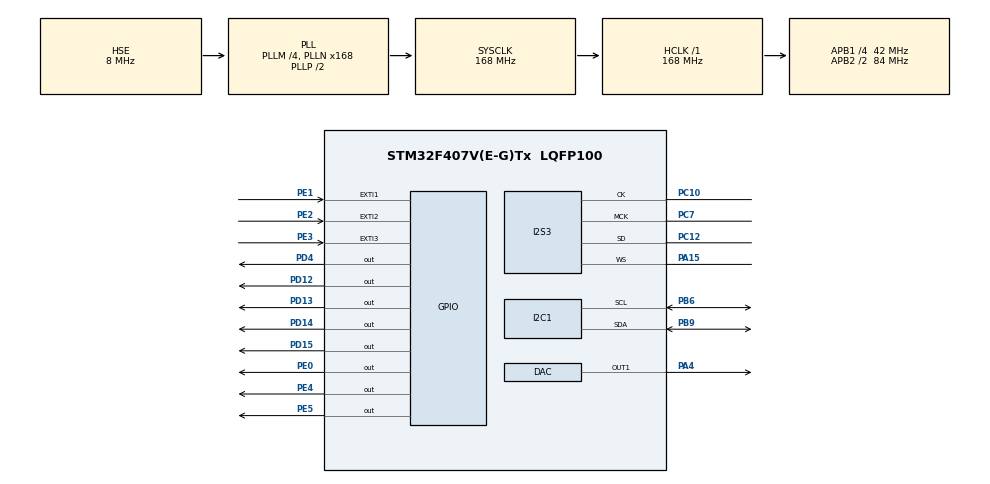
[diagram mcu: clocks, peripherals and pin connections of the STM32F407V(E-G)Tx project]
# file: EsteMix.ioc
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Dma.Request0=SPI3_TX
Dma.SPI3_TX.0.Direction=DMA_MEMORY_TO_PERIPH
Dma.SPI3_TX.0.FIFOMode=DMA_FIFOMODE_ENABLE
Dma.SPI3_TX.0.FIFOThreshold=DMA_FIFO_THRESHOLD_FULL
Dma.SPI3_TX.0.Instance=DMA1_Stream5
Dma.SPI3_TX.0.MemBurst=DMA_MBURST_SINGLE
Dma.SPI3_TX.0.MemDataAlignment=DMA_MDATAALIGN_HALFWORD
Dma.SPI3_TX.0.MemInc=DMA_MINC_ENABLE
Dma.SPI3_TX.0.Mode=DMA_CIRCULAR
Dma.SPI3_TX.0.PeriphBurst=DMA_PBURST_SINGLE
Dma.SPI3_TX.0.PeriphDataAlignment=DMA_PDATAALIGN_HALFWORD
Dma.SPI3_TX.0.PeriphInc=DMA_PINC_DISABLE
Dma.SPI3_TX.0.Priority=DMA_PRIORITY_LOW
I2S3.AudioFreq=I2S_AUDIOFREQ_48K
I2S3.ErrorAudioFreq=-2.34 %
I2S3.FullDuplexMode=I2S_FULLDUPLEXMODE_DISABLE
I2S3.Instance=SPI$Index
I2S3.RealAudioFreq=46.875 KHz
I2S3.VirtualMode=I2S_MODE_MASTER
Mcu.Family=STM32F4
Mcu.Name=STM32F407V(E-G)Tx
Mcu.Package=LQFP100
NVIC.DMA1_Stream5_IRQn=true\:0\:0\:false\:false\:true\:false
NVIC.EXTI1_IRQn=true\:0\:0\:false\:false\:true\:true
NVIC.EXTI2_IRQn=true\:0\:0\:false\:false\:true\:true
NVIC.EXTI3_IRQn=true\:0\:0\:false\:false\:true\:true
NVIC.PriorityGroup=NVIC_PRIORITYGROUP_4
NVIC.TIM2_IRQn=true\:0\:0\:false\:false\:true\:true
NVIC.TIM3_IRQn=true\:0\:0\:false\:false\:true\:true
PA15.Mode=Half_Duplex_Master
PA15.Signal=I2S3_WS
PA4.Signal=COMP_DAC1_group
PB6.Mode=I2C
PB6.Signal=I2C1_SCL
PB9.Mode=I2C
PB9.Signal=I2C1_SDA
PC10.Mode=Half_Duplex_Master
PC10.Signal=I2S3_CK
PC12.Mode=Half_Duplex_Master
PC12.Signal=I2S3_SD
PC7.Mode=Master_Clock_Activated
PC7.Signal=I2S3_MCK
PD12.Signal=GPIO_Output
PD13.Signal=GPIO_Output
PD14.Signal=GPIO_Output
PD15.Signal=GPIO_Output
PD4.Signal=GPIO_Output
PE0.Signal=GPIO_Output
PE1.GPIO_ModeDefaultEXTI=GPIO_MODE_IT_RISING_FALLING
PE1.Signal=GPXTI1
PE2.GPIO_ModeDefaultEXTI=GPIO_MODE_IT_RISING_FALLING
PE2.Signal=GPXTI2
PE3.GPIO_ModeDefaultEXTI=GPIO_MODE_IT_RISING_FALLING
PE3.Signal=GPXTI3
PE4.Signal=GPIO_Output
PE5.Signal=GPIO_Output
PH0-OSC_IN.Mode=HSE-External-Oscillator
PH0-OSC_IN.Signal=RCC_OSC_IN
PH1-OSC_OUT.Mode=HSE-External-Oscillator
PH1-OSC_OUT.Signal=RCC_OSC_OUT
ProjectManager.HeapSize=0x200
ProjectManager.StackSize=0x400
ProjectManager.TargetToolchain=SW4STM32
RCC.48MHZClocksFreq_Value=84000000
RCC.AHBFreq_Value=168000000
RCC.APB1CLKDivider=RCC_HCLK_DIV4
RCC.APB1Freq_Value=42000000
RCC.APB1TimFreq_Value=84000000
RCC.APB2CLKDivider=RCC_HCLK_DIV2
RCC.APB2Freq_Value=84000000
RCC.APB2TimFreq_Value=168000000
RCC.CortexFreq_Value=168000000
RCC.HCLKFreq_Value=168000000
RCC.HSE_VALUE=8000000
RCC.HSI_VALUE=16000000
RCC.LSE_VALUE=32768
RCC.PLLM=4
RCC.PLLN=168
RCC.PLLSourceVirtual=RCC_PLLSOURCE_HSE
RCC.SYSCLKFreq_VALUE=168000000
RCC.SYSCLKSource=RCC_SYSCLKSOURCE_PLLCLK
RCC.VCOOutputFreq_Value=336000000
SH.COMP_DAC1_group.0=DAC_OUT1,DAC_OUT1
TIM2.Period=19
TIM2.Prescaler=83
TIM2.TIM_MasterOutputTrigger=TIM_TRGO_UPDATE
TIM3.Period=6
TIM3.Prescaler=11
VP_TIM2_VS_ClockSourceINT.Mode=Internal
VP_TIM3_VS_ClockSourceINT.Mode=Internal
board=EsteMix

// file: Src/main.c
/* USER CODE BEGIN Header */
/**
  ******************************************************************************
  * @file           : main.c
  * @brief          : Main program body
  ******************************************************************************
  ** This notice applies to any and all portions of this file
  * that are not between comment pairs USER CODE BEGIN and
  * USER CODE END. Other portions of this file, whether
  * inserted by the user or by software development tools
  * are owned by their respective copyright owners.
  *
  * COPYRIGHT(c) 2019 STMicroelectronics
  *
  * Redistribution and use in source and binary forms, with or without modification,
  * are permitted provided that the following conditions are met:
  *   1. Redistributions of source code must retain the above copyright notice,
  *      this list of conditions and the following disclaimer.
  *   2. Redistributions in binary form must reproduce the above copyright notice,
  *      this list of conditions and the following disclaimer in the documentation
  *      and/or other materials provided with the distribution.
  *   3. Neither the name of STMicroelectronics nor the names of its contributors
  *      may be used to endorse or promote products derived from this software
  *      without specific prior written permission.
  *
  * THIS SOFTWARE IS PROVIDED BY THE COPYRIGHT HOLDERS AND CONTRIBUTORS "AS IS"
  * AND ANY EXPRESS OR IMPLIED WARRANTIES, INCLUDING, BUT NOT LIMITED TO, THE
  * IMPLIED WARRANTIES OF MERCHANTABILITY AND FITNESS FOR A PARTICULAR PURPOSE ARE
  * DISCLAIMED. IN NO EVENT SHALL THE COPYRIGHT HOLDER OR CONTRIBUTORS BE LIABLE
  * FOR ANY DIRECT, INDIRECT, INCIDENTAL, SPECIAL, EXEMPLARY, OR CONSEQUENTIAL
  * DAMAGES (INCLUDING, BUT NOT LIMITED TO, PROCUREMENT OF SUBSTITUTE GOODS OR
  * SERVICES; LOSS OF USE, DATA, OR PROFITS; OR BUSINESS INTERRUPTION) HOWEVER
  * CAUSED AND ON ANY THEORY OF LIABILITY, WHETHER IN CONTRACT, STRICT LIABILITY,
  * OR TORT (INCLUDING NEGLIGENCE OR OTHERWISE) ARISING IN ANY WAY OUT OF THE USE
  * OF THIS SOFTWARE, EVEN IF ADVISED OF THE POSSIBILITY OF SUCH DAMAGE.
  *
  ******************************************************************************
  */
/* USER CODE END Header */

#include "main.h"

/* USER CODE BEGIN Includes */
#include "MY_CS43L22.h"
#include <math.h>
/* USER CODE END Includes */

DAC_HandleTypeDef hdac;

I2C_HandleTypeDef hi2c1;

I2S_HandleTypeDef hi2s3;
DMA_HandleTypeDef hdma_spi3_tx;

TIM_HandleTypeDef htim2;
TIM_HandleTypeDef htim3;

/* USER CODE BEGIN PV */
/* Private variables ---------------------------------------------------------*/
int cnt=0;
double cm1=0,cm2=0,cm3=0;
#define PI 3.14159f
#define F_SAMPLE 60000.0f
#define F_OUT 1000.0f
float mySinval;
float sample_dt=F_OUT/F_SAMPLE;
uint16_t sample_N=F_SAMPLE/F_OUT;
uint16_t i_t;
uint32_t myDacval;
int16_t I2S_dummy[4];
float vol = 1.0f;
float freq = 1.0f;
float amp = 1.0f;
/* USER CODE END PV */

void SystemClock_Config(void);
static void MX_GPIO_Init(void);
static void MX_DMA_Init(void);
static void MX_TIM3_Init(void);
static void MX_I2C1_Init(void);
static void MX_I2S3_Init(void);
static void MX_DAC_Init(void);
static void MX_TIM2_Init(void);
/* USER CODE BEGIN PFP */
/* Private function prototypes -----------------------------------------------*/

void HAL_TIM_PeriodElapsedCallback(TIM_HandleTypeDef *htim){
	if (htim->Instance == TIM3) {
		cnt++;
	}
	if(htim->Instance == TIM2){
		  mySinval = sinf(i_t * 2 * PI * sample_dt);
		  //konwersja z float na dac1
		  myDacval = (mySinval + 1) * 127 ;
		  //wyprowadzenie probki na DAC
		  HAL_DAC_SetValue(&hdac, DAC_CHANNEL_1, DAC_ALIGN_8B_R, myDacval * vol);

		  i_t++;
		  if(i_t>=amp)

			  {i_t=0;}
	  }
}

void HAL_GPIO_EXTI_Callback(uint16_t GPIO_Pin){
	if(GPIO_Pin == GPIO_PIN_1){
		if(HAL_GPIO_ReadPin(GPIOE, GPIO_PIN_1)){
			HAL_TIM_Base_Start_IT(&htim3);}
	else{
			cm1=cnt/58.0;
			HAL_TIM_Base_Stop_IT(&htim3);
			TIM3->CNT=0;
			cnt=0;
			}
	  }

	if(GPIO_Pin == GPIO_PIN_2){
			if(HAL_GPIO_ReadPin(GPIOE, GPIO_PIN_2)){
				HAL_TIM_Base_Start_IT(&htim3);}
		else{
				cm2=cnt/58.0;
				HAL_TIM_Base_Stop_IT(&htim3);
				TIM3->CNT=0;
				cnt=0;
				}
		  }

	if(GPIO_Pin == GPIO_PIN_3){
			if(HAL_GPIO_ReadPin(GPIOE, GPIO_PIN_3)){
				HAL_TIM_Base_Start_IT(&htim3);}
		else{
				cm3=cnt/58.0;
				HAL_TIM_Base_Stop_IT(&htim3);
				TIM3->CNT=0;
				cnt=0;
				}
		  }
}

void triggerHC1(){
		HAL_GPIO_WritePin(GPIOE, GPIO_PIN_0,0);
		HAL_Delay(2);

		HAL_GPIO_WritePin(GPIOE, GPIO_PIN_0,1);
		HAL_Delay(10);

		HAL_GPIO_WritePin(GPIOE, GPIO_PIN_0,0);
}

void triggerHC2(){
		HAL_GPIO_WritePin(GPIOE, GPIO_PIN_4,0);
		HAL_Delay(2);

		HAL_GPIO_WritePin(GPIOE, GPIO_PIN_4,1);
		HAL_Delay(10);

		HAL_GPIO_WritePin(GPIOE, GPIO_PIN_4,0);
}

void triggerHC3(){
		HAL_GPIO_WritePin(GPIOE, GPIO_PIN_5,0);
		HAL_Delay(2);

		HAL_GPIO_WritePin(GPIOE, GPIO_PIN_5,1);
		HAL_Delay(10);

		HAL_GPIO_WritePin(GPIOE, GPIO_PIN_5,0);
}
/* USER CODE END PFP */

int main(void)
{

  /* MCU Configuration--------------------------------------------------------*/

  /* Reset of all peripherals, Initializes the Flash interface and the Systick. */
  HAL_Init();

  /* Configure the system clock */
  SystemClock_Config();

  /* Initialize all configured peripherals */
  MX_GPIO_Init();
  MX_DMA_Init();
  MX_TIM3_Init();
  MX_I2C1_Init();
  MX_I2S3_Init();
  MX_DAC_Init();
  MX_TIM2_Init();
  /* USER CODE BEGIN 2 */
  //wlaczanie CS43L22
    CS43_Init(hi2c1, MODE_ANALOG);
    CS43_SetVolume(50);
    CS43_Enable_RightLeft(CS43_RIGHT_LEFT);
    CS43_Start();

    HAL_I2S_Transmit_DMA(&hi2s3,(uint16_t *)I2S_dummy, 4);

    //wlaczanie DAC
    HAL_DAC_Start(&hdac,DAC_CHANNEL_1);

    //wlaczenie TIM2
    HAL_TIM_Base_Start_IT(&htim2);

  /* USER CODE END 2 */

  /* Infinite loop */
  /* USER CODE BEGIN WHILE */
  while (1)
  {
	  triggerHC1();
	//  HAL_Delay(200);
	  triggerHC2();
	  //HAL_Delay(200);
//	  triggerHC3();
//	  HAL_Delay(200);

	  vol = cm1/30;
	  amp = cm2*10;
	  /* USER CODE END WHILE */

  }
}

void SystemClock_Config(void)
{
  RCC_OscInitTypeDef RCC_OscInitStruct = {0};
  RCC_ClkInitTypeDef RCC_ClkInitStruct = {0};
  RCC_PeriphCLKInitTypeDef PeriphClkInitStruct = {0};

  /**Configure the main internal regulator output voltage
  */
  __HAL_RCC_PWR_CLK_ENABLE();
  __HAL_PWR_VOLTAGESCALING_CONFIG(PWR_REGULATOR_VOLTAGE_SCALE1);
  /**Initializes the CPU, AHB and APB busses clocks
  */
  RCC_OscInitStruct.OscillatorType = RCC_OSCILLATORTYPE_HSE;
  RCC_OscInitStruct.HSEState = RCC_HSE_ON;
  RCC_OscInitStruct.PLL.PLLState = RCC_PLL_ON;
  RCC_OscInitStruct.PLL.PLLSource = RCC_PLLSOURCE_HSE;
  RCC_OscInitStruct.PLL.PLLM = 4;
  RCC_OscInitStruct.PLL.PLLN = 168;
  RCC_OscInitStruct.PLL.PLLP = RCC_PLLP_DIV2;
  RCC_OscInitStruct.PLL.PLLQ = 4;
  if (HAL_RCC_OscConfig(&RCC_OscInitStruct) != HAL_OK)
  {
    Error_Handler();
  }
  /**Initializes the CPU, AHB and APB busses clocks
  */
  RCC_ClkInitStruct.ClockType = RCC_CLOCKTYPE_HCLK|RCC_CLOCKTYPE_SYSCLK
                              |RCC_CLOCKTYPE_PCLK1|RCC_CLOCKTYPE_PCLK2;
  RCC_ClkInitStruct.SYSCLKSource = RCC_SYSCLKSOURCE_PLLCLK;
  RCC_ClkInitStruct.AHBCLKDivider = RCC_SYSCLK_DIV1;
  RCC_ClkInitStruct.APB1CLKDivider = RCC_HCLK_DIV4;
  RCC_ClkInitStruct.APB2CLKDivider = RCC_HCLK_DIV2;

  if (HAL_RCC_ClockConfig(&RCC_ClkInitStruct, FLASH_LATENCY_5) != HAL_OK)
  {
    Error_Handler();
  }
  PeriphClkInitStruct.PeriphClockSelection = RCC_PERIPHCLK_I2S;
  PeriphClkInitStruct.PLLI2S.PLLI2SN = 192;
  PeriphClkInitStruct.PLLI2S.PLLI2SR = 2;
  if (HAL_RCCEx_PeriphCLKConfig(&PeriphClkInitStruct) != HAL_OK)
  {
    Error_Handler();
  }
}

static void MX_DAC_Init(void)
{

  DAC_ChannelConfTypeDef sConfig = {0};

  /**DAC Initialization
  */
  hdac.Instance = DAC;
  if (HAL_DAC_Init(&hdac) != HAL_OK)
  {
    Error_Handler();
  }
  /**DAC channel OUT1 config
  */
  sConfig.DAC_Trigger = DAC_TRIGGER_NONE;
  sConfig.DAC_OutputBuffer = DAC_OUTPUTBUFFER_ENABLE;
  if (HAL_DAC_ConfigChannel(&hdac, &sConfig, DAC_CHANNEL_1) != HAL_OK)
  {
    Error_Handler();
  }

}

static void MX_I2C1_Init(void)
{

  hi2c1.Instance = I2C1;
  hi2c1.Init.ClockSpeed = 100000;
  hi2c1.Init.DutyCycle = I2C_DUTYCYCLE_2;
  hi2c1.Init.OwnAddress1 = 0;
  hi2c1.Init.AddressingMode = I2C_ADDRESSINGMODE_7BIT;
  hi2c1.Init.DualAddressMode = I2C_DUALADDRESS_DISABLE;
  hi2c1.Init.OwnAddress2 = 0;
  hi2c1.Init.GeneralCallMode = I2C_GENERALCALL_DISABLE;
  hi2c1.Init.NoStretchMode = I2C_NOSTRETCH_DISABLE;
  if (HAL_I2C_Init(&hi2c1) != HAL_OK)
  {
    Error_Handler();
  }

}

static void MX_I2S3_Init(void)
{

  hi2s3.Instance = SPI3;
  hi2s3.Init.Mode = I2S_MODE_MASTER_TX;
  hi2s3.Init.Standard = I2S_STANDARD_PHILIPS;
  hi2s3.Init.DataFormat = I2S_DATAFORMAT_16B;
  hi2s3.Init.MCLKOutput = I2S_MCLKOUTPUT_ENABLE;
  hi2s3.Init.AudioFreq = I2S_AUDIOFREQ_48K;
  hi2s3.Init.CPOL = I2S_CPOL_LOW;
  hi2s3.Init.ClockSource = I2S_CLOCK_PLL;
  hi2s3.Init.FullDuplexMode = I2S_FULLDUPLEXMODE_DISABLE;
  if (HAL_I2S_Init(&hi2s3) != HAL_OK)
  {
    Error_Handler();
  }

}

static void MX_TIM2_Init(void)
{

  TIM_ClockConfigTypeDef sClockSourceConfig = {0};
  TIM_MasterConfigTypeDef sMasterConfig = {0};

  htim2.Instance = TIM2;
  htim2.Init.Prescaler = 83;
  htim2.Init.CounterMode = TIM_COUNTERMODE_UP;
  htim2.Init.Period = 19;
  htim2.Init.ClockDivision = TIM_CLOCKDIVISION_DIV1;
  if (HAL_TIM_Base_Init(&htim2) != HAL_OK)
  {
    Error_Handler();
  }
  sClockSourceConfig.ClockSource = TIM_CLOCKSOURCE_INTERNAL;
  if (HAL_TIM_ConfigClockSource(&htim2, &sClockSourceConfig) != HAL_OK)
  {
    Error_Handler();
  }
  sMasterConfig.MasterOutputTrigger = TIM_TRGO_UPDATE;
  sMasterConfig.MasterSlaveMode = TIM_MASTERSLAVEMODE_DISABLE;
  if (HAL_TIMEx_MasterConfigSynchronization(&htim2, &sMasterConfig) != HAL_OK)
  {
    Error_Handler();
  }

}

static void MX_TIM3_Init(void)
{

  TIM_ClockConfigTypeDef sClockSourceConfig = {0};
  TIM_MasterConfigTypeDef sMasterConfig = {0};

  htim3.Instance = TIM3;
  htim3.Init.Prescaler = 11;
  htim3.Init.CounterMode = TIM_COUNTERMODE_UP;
  htim3.Init.Period = 6;
  htim3.Init.ClockDivision = TIM_CLOCKDIVISION_DIV1;
  if (HAL_TIM_Base_Init(&htim3) != HAL_OK)
  {
    Error_Handler();
  }
  sClockSourceConfig.ClockSource = TIM_CLOCKSOURCE_INTERNAL;
  if (HAL_TIM_ConfigClockSource(&htim3, &sClockSourceConfig) != HAL_OK)
  {
    Error_Handler();
  }
  sMasterConfig.MasterOutputTrigger = TIM_TRGO_RESET;
  sMasterConfig.MasterSlaveMode = TIM_MASTERSLAVEMODE_DISABLE;
  if (HAL_TIMEx_MasterConfigSynchronization(&htim3, &sMasterConfig) != HAL_OK)
  {
    Error_Handler();
  }

}

static void MX_DMA_Init(void)
{
  /* DMA controller clock enable */
  __HAL_RCC_DMA1_CLK_ENABLE();

  /* DMA interrupt init */
  /* DMA1_Stream5_IRQn interrupt configuration */
  HAL_NVIC_SetPriority(DMA1_Stream5_IRQn, 0, 0);
  HAL_NVIC_EnableIRQ(DMA1_Stream5_IRQn);

}

static void MX_GPIO_Init(void)
{
  GPIO_InitTypeDef GPIO_InitStruct = {0};

  /* GPIO Ports Clock Enable */
  __HAL_RCC_GPIOE_CLK_ENABLE();
  __HAL_RCC_GPIOH_CLK_ENABLE();
  __HAL_RCC_GPIOA_CLK_ENABLE();
  __HAL_RCC_GPIOD_CLK_ENABLE();
  __HAL_RCC_GPIOC_CLK_ENABLE();
  __HAL_RCC_GPIOB_CLK_ENABLE();

  /*Configure GPIO pin Output Level */
  HAL_GPIO_WritePin(GPIOE, GPIO_PIN_4|GPIO_PIN_5|GPIO_PIN_0, GPIO_PIN_RESET);

  /*Configure GPIO pin Output Level */
  HAL_GPIO_WritePin(GPIOD, GPIO_PIN_12|GPIO_PIN_13|GPIO_PIN_14|GPIO_PIN_15
                          |GPIO_PIN_4, GPIO_PIN_RESET);

  /*Configure GPIO pins : PE2 PE3 PE1 */
  GPIO_InitStruct.Pin = GPIO_PIN_2|GPIO_PIN_3|GPIO_PIN_1;
  GPIO_InitStruct.Mode = GPIO_MODE_IT_RISING_FALLING;
  GPIO_InitStruct.Pull = GPIO_NOPULL;
  HAL_GPIO_Init(GPIOE, &GPIO_InitStruct);

  /*Configure GPIO pins : PE4 PE5 PE0 */
  GPIO_InitStruct.Pin = GPIO_PIN_4|GPIO_PIN_5|GPIO_PIN_0;
  GPIO_InitStruct.Mode = GPIO_MODE_OUTPUT_PP;
  GPIO_InitStruct.Pull = GPIO_NOPULL;
  GPIO_InitStruct.Speed = GPIO_SPEED_FREQ_LOW;
  HAL_GPIO_Init(GPIOE, &GPIO_InitStruct);

  /*Configure GPIO pins : PD12 PD13 PD14 PD15
                           PD4 */
  GPIO_InitStruct.Pin = GPIO_PIN_12|GPIO_PIN_13|GPIO_PIN_14|GPIO_PIN_15
                          |GPIO_PIN_4;
  GPIO_InitStruct.Mode = GPIO_MODE_OUTPUT_PP;
  GPIO_InitStruct.Pull = GPIO_NOPULL;
  GPIO_InitStruct.Speed = GPIO_SPEED_FREQ_LOW;
  HAL_GPIO_Init(GPIOD, &GPIO_InitStruct);

  /* EXTI interrupt init*/
  HAL_NVIC_SetPriority(EXTI1_IRQn, 0, 0);
  HAL_NVIC_EnableIRQ(EXTI1_IRQn);

  HAL_NVIC_SetPriority(EXTI2_IRQn, 0, 0);
  HAL_NVIC_EnableIRQ(EXTI2_IRQn);

  HAL_NVIC_SetPriority(EXTI3_IRQn, 0, 0);
  HAL_NVIC_EnableIRQ(EXTI3_IRQn);

}

void Error_Handler(void)
{
  while(1)
  {
  }
}

/************************ (C) COPYRIGHT STMicroelectronics *****END OF FILE****/
